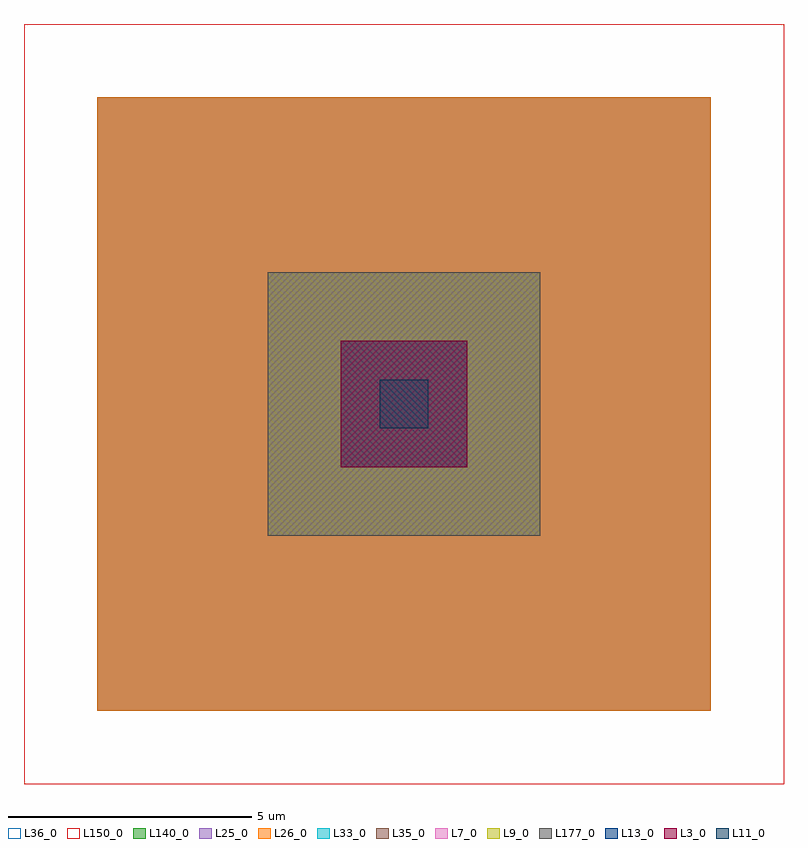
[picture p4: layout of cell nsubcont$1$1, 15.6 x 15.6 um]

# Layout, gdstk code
import gdstk
lib = gdstk.Library(unit=1e-6, precision=1e-09)
def R(c, l, rs):  # rectangles x0, y0, x1, y1
    for r in rs: c.add(gdstk.rectangle(r[:2], r[2:], *l))
L3_0 = (3, 0)
L7_0 = (7, 0)
L9_0 = (9, 0)
L11_0 = (11, 0)
L13_0 = (13, 0)
L25_0 = (25, 0)
L26_0 = (26, 0)
L33_0 = (33, 0)
L35_0 = (35, 0)
L36_0 = (36, 0)
L140_0 = (140, 0)
L150_0 = (150, 0)
L177_0 = (177, 0)

dcont_1_1 = lib.new_cell('DCONT$1$1')
R(dcont_1_1, L3_0, [(-1.3,-1.3,1.3,1.3)])
R(dcont_1_1, L11_0, [(-0.5,-0.5,0.5,0.5)])
R(dcont_1_1, L13_0, [(-1.3,-1.3,1.3,1.3), (-0.5,-0.5,0.5,0.5)])

nsubcont_1_1 = lib.new_cell('nsubcont$1$1')
R(nsubcont_1_1, L7_0, [(-2.8,-2.7,2.8,2.7)])
R(nsubcont_1_1, L9_0, [(-2.8,-2.7,2.8,2.7)])
R(nsubcont_1_1, L25_0, [(-6.3,-6.3,6.3,6.3)])
R(nsubcont_1_1, L26_0, [(-6.3,-6.3,6.3,6.3)])
R(nsubcont_1_1, L33_0, [(-2.8,-2.7,2.8,2.7)])
R(nsubcont_1_1, L35_0, [(-2.8,-2.7,2.8,2.7)])
R(nsubcont_1_1, L36_0, [(-7.8,-7.8,7.8,7.8)])
R(nsubcont_1_1, L140_0, [(-6.3,-6.3,6.3,6.3)])
R(nsubcont_1_1, L150_0, [(-7.8,-7.8,7.8,7.8)])
R(nsubcont_1_1, L177_0, [(-2.8,-2.7,2.8,2.7)])
nsubcont_1_1.add(gdstk.Reference(dcont_1_1, (0,0)))

lib.write_gds('nsubcont_1_1.gds')
